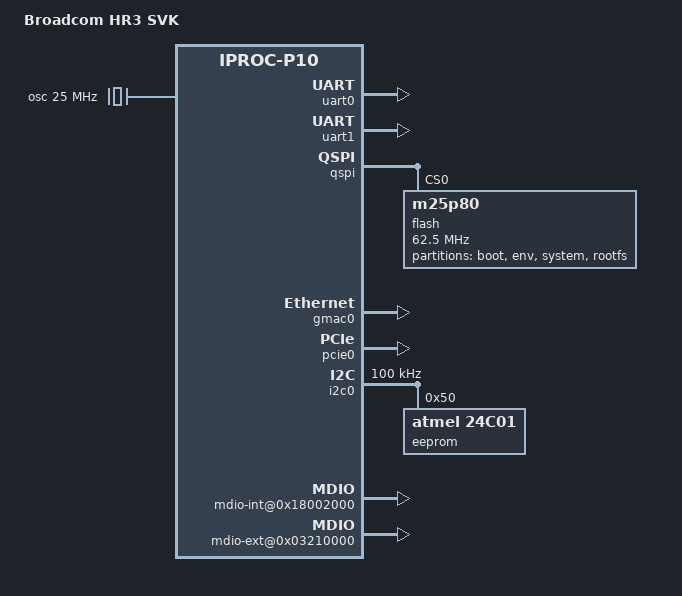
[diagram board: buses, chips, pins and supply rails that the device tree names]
/*
 HR3 DTS
*/

/dts-v1/;

#include <dt-bindings/interrupt-controller/arm-gic.h>
#include "skeleton.dtsi"


/ {
	model = "Broadcom HR3 SVK";
	compatible = "brcm,hurricane3", "brcm,iproc-p10";
	interrupt-parent = <&gic>;

	aliases {
		serial0 = &uart0;
		serial1 = &uart1;
		ethernet0 = &gmac0;
	};
	
	chosen {
		bootargs = "console=ttyS0,115200n8 maxcpus=1 mem=240M";
	};

	cpus {
		#address-cells = <1>;
		#size-cells = <0>;

		cpu@0 {
			device_type = "cpu";
			compatible = "arm,cortex-a9";
			next-level-cache = <&L2>;
			reg = <0x0>;
		};
	};
  	
  	L2: l2-cache {
		compatible = "arm,pl310-cache";
		reg = <0x19022000 0x1000>;
		cache-unified;
		cache-level = <2>;
		/* aux register value */
		arm,aux-value = <0x00030000>;
		arm,aux-mask = <0xfff0ffff>;
		arm,filter-ranges = <0x60000000 0xa0000000>;
		/*arm,data-latency = <2 2 2>;*/
		/*arm,tag-latency = <1 1 1>;*/
	};
  	
  	clocks {
		#address-cells = <1>;
		#size-cells = <1>;
		ranges;

		osc: oscillator {
			#clock-cells = <0>;
			compatible = "fixed-clock";
			clock-frequency = <25000000>;
		};

		a9pll: arm_clk@0x19000000 {
			#clock-cells = <0>;
			compatible = "brcm,iproc-armpll";
			clocks = <&osc>;
			reg = <0x19000000 0x1000>;
		};

		periph_clk: periph_clk@0x19000000 {
			#clock-cells = <0>;
			compatible = "fixed-factor-clock";
			clocks = <&a9pll>;
			clock-div = <2>;
			clock-mult = <1>;
		};
		
		axi_clk: axi_clk@0x1800fc00 {
			#clock-cells = <0>;
			compatible = "brcm,iproc-genpll";
			clocks = <&osc>;
			reg = <0x1800fc00 0x1c>;
		};

		apb_clk: apb_clk@0x1800fc00 {
			#clock-cells = <0>;
			compatible = "fixed-factor-clock";
			clocks = <&axi_clk>;
			clock-div = <4>;
			clock-mult = <1>;
		};		
	};
  	
  	gic: interrupt-controller@0x19021000 {
		compatible = "arm,cortex-a9-gic";
		#interrupt-cells = <3>;
		interrupt-controller;
		reg = <0x19021000 0x1000>, <0x19020100 0x100>;
	};
  	  
  	local-timer@0x19020600 {
		compatible = "arm,cortex-a9-twd-timer";
		reg = <0x19020600 0x100>;
		interrupts = <GIC_PPI 13 IRQ_TYPE_EDGE_RISING>;
		clocks = <&periph_clk>;
	};
  	
  	timer@0x19020200 {
		compatible = "arm,cortex-a9-global-timer";
		reg = <0x19020200 0x100>;
		interrupts = <GIC_PPI 11 IRQ_TYPE_EDGE_RISING>; 
		clocks = <&periph_clk>;
	};
	
	uart0: serial@0x18020000 {
		compatible = "snps,dw-apb-uart";
		reg = <0x18020000 0x100>;
		interrupts = <GIC_SPI 61 IRQ_TYPE_LEVEL_HIGH>;
		/*clock-frequency = <50000000>;*/
		clocks = <&apb_clk>;
		reg-io-width = <4>;
		reg-shift = <2>;
	};

	uart1: serial@0x18021000 {
		compatible = "snps,dw-apb-uart";
		reg = <0x18021000 0x1000>;
		interrupts = <GIC_SPI 62 IRQ_TYPE_LEVEL_HIGH>;
		/*clock-frequency = <50000000>;*/
		clocks = <&apb_clk>;
		reg-io-width = <4>;
		reg-shift = <2>;
	};
		
	qspi: spi@0x18047000 {
		#address-cells = <1>;
		#size-cells = <0>;
		compatible = "brcm,iproc-qspi";
		reg = mspi_hw:<0x18047200 0x188>,
		      bspi_hw:<0x18047000 0x050>,
		  bspi_hw_raf:<0x18047100 0x024>,
		    qspi_intr:<0x180473a0 0x01c>,
		     idm_qspi:<0x1811f408 0x004>, /* GH2:0xf8106408 */
		       cru_hw:<0x1800e000 0x004>;
		interrupts = <GIC_SPI 58 IRQ_TYPE_LEVEL_HIGH>;
		#chip-select = <0>; 
		clocks = <&apb_clk>;
		clock-names = "apb_clk";
		flash: m25p80@0 {
			#address-cells = <1>;
			#size-cells = <1>;
			compatible = "m25p80";
			m25p,fast-read = <1>;
			spi-max-frequency = <62500000>;
			reg = <0x0>;
			partition@0 {
				label = "boot";
				reg = <0x00000000 0x000c0000>;
				/*read-only;*/
			};
			partition@1 {
				label = "env";
				reg = <0x000c0000 0x00040000>;
			};
			partition@2 {
				label = "system";
				reg = <0x00100000 0x00f00000>;
			};
			partition@3 {
				label = "rootfs";
				reg = <0x01000000 0x03000000>;
			};
		};
	};

	gmac0: ethernet@0x18042000 {
		compatible = "brcm,iproc-gmac";
		reg = <0x18042000 0x1000>;
		interrupts = <GIC_SPI 81 IRQ_TYPE_LEVEL_HIGH>;
	};

	gpio_ccg: gpio@0x1800a000 {
		compatible = "brcm,iproc-gpio,ccg";
		#address-cells = <1>;
		#size-cells = <1>;
		#gpio-cells = <2>;
		reg = gpio: <0x1800a000 0x50>;
		ngpios = <12>;
		pin-offset = <4>;
		pin-base = <4>;
		irq-base = <256>; /* sw irq base for irq handlers */
		gpio-controller;
		interrupt-controller;
		interrupts = <GIC_SPI 64 IRQ_TYPE_LEVEL_HIGH>;
	};
	
	pcie0: pcie@0x18012000 {
		compatible = "brcm,iproc-pcie", "iproc-p2";
		reg = <0x18012000 0x1000>;
		linux,pci-domain = <0>;
		interrupts = <GIC_SPI 75 IRQ_TYPE_LEVEL_HIGH>,
			     <GIC_SPI 76 IRQ_TYPE_LEVEL_HIGH>,
			     <GIC_SPI 77 IRQ_TYPE_LEVEL_HIGH>,
			     <GIC_SPI 78 IRQ_TYPE_LEVEL_HIGH>,
			     <GIC_SPI 79 IRQ_TYPE_LEVEL_HIGH>,
			     <GIC_SPI 80 IRQ_TYPE_LEVEL_HIGH>;
		status = "okay"; 
		#address-cells = <3>;
		#size-cells = <2>;
		device_type = "pci";
		/*non-prefetchable mem space, pcie addr 0x0 0x20000000,
		* cpu addr 0x20000000, size 0x0 0x20000000
		*/  		
		ranges = <0x82000000 0 0x20000000 0x20000000 0 0x20000000>;	
		phy-addr = <0>;
	};
	
	i2c0: i2c@0x18008000 {
		compatible = "brcm,iproc-i2c";
		reg = <0x18008000 0x100>;
		interrupts = <GIC_SPI 65 IRQ_TYPE_LEVEL_HIGH>;
		#bus-id = <0>;
		clock-frequency = <100000>;
		
		#address-cells = <1>;
		#size-cells = <0>;	
		eeprom@0x50 {
			compatible = "atmel,24c01";
			reg = <0x50>;
			pagesize = <8>;
		};
	};

	mdio-int@0x18002000 {
		compatible = "brcm,iproc-ccg-mdio";
		#address-cells = <1>;
		#size-cells = <1>;
		reg = <0x18002000 0x1000>;
		#bus-id = <0>;
		bus-type = "internal";
		clocks = <&apb_clk>;
		clock-names = "apb_clk";
	};
	
	/* cmicd cmic_common mdio */
	mdio-ext@0x03210000 {
		compatible = "brcm,iproc-cmicd-mdio";
		#address-cells = <1>;
		#size-cells = <1>;
		reg = <0x03210000 0x1000>;
		/* cmicd mdio needs #logical-bus-id and #bus-id (physical) */
		#bus-id = <1>;
		#logical-bus-id = <1>;
		bus-type = "external";
		clocks = <&apb_clk>;
		clock-names = "apb_clk";
	};
		
	amba {
		#address-cells = <1>;
		#size-cells = <1>;
		compatible = "arm,amba-bus", "simple-bus";
		interrupt-parent = <&gic>;
		ranges;

		iproc_wdt@0x18009000 {
			compatible = "arm,sp805", "arm,primecell";
			reg = iproc_wdt_base: <0x18009000 0x1000>,
	      		iproc_reset_reg: <0x1800f014 0x4>;
	      	wdt_boot_status_bit = <0x0>;	
			clocks = <&apb_clk>;
			/* should be "apb_pclk" according to 
			*Documentation/devicetree/bindings/arm/primecell.txt
			*/
			clock-names = "apb_pclk";
		};
	};
	
	dmu-pcu@0x1800f000 {
		compatible = "brcm,iproc-dmu-pcu";
		#address-cells = <1>;
		#size-cells = <1>;
		reg = <0x1800f000 0xc00>;
	};
	
	iproc-wrap-ctrl@0x1800fc00 {
		compatible = "brcm,iproc-wrap-ctrl";
		#address-cells = <1>;
		#size-cells = <1>;
		reg = <0x1800fc00 0x100>;
	};
	
	iproc-idm@0x18100000 {
		compatible = "brcm,iproc-idm";
		#address-cells = <1>;
		#size-cells = <1>;
		reg = <0x18100000 0x100000>;
		interrupts = <GIC_SPI 20 IRQ_TYPE_LEVEL_HIGH>,
				<GIC_SPI 21 IRQ_TYPE_LEVEL_HIGH>,
				<GIC_SPI 22 IRQ_TYPE_LEVEL_HIGH>,
				<GIC_SPI 23 IRQ_TYPE_LEVEL_HIGH>,
				<GIC_SPI 24 IRQ_TYPE_LEVEL_HIGH>,
				<GIC_SPI 26 IRQ_TYPE_LEVEL_HIGH>,
				<GIC_SPI 28 IRQ_TYPE_LEVEL_HIGH>,
				<GIC_SPI 29 IRQ_TYPE_LEVEL_HIGH>,
				<GIC_SPI 32 IRQ_TYPE_LEVEL_HIGH>,
				<GIC_SPI 35 IRQ_TYPE_LEVEL_HIGH>,
				<GIC_SPI 36 IRQ_TYPE_LEVEL_HIGH>,
				<GIC_SPI 37 IRQ_TYPE_LEVEL_HIGH>,
				<GIC_SPI 38 IRQ_TYPE_LEVEL_HIGH>;        
	};		
};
